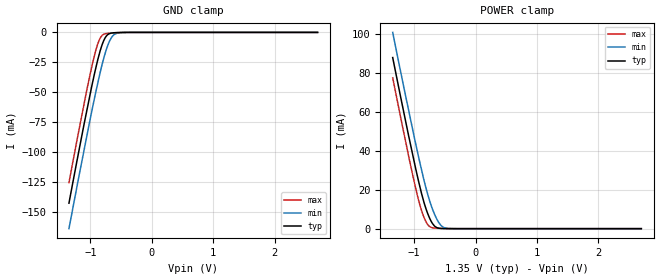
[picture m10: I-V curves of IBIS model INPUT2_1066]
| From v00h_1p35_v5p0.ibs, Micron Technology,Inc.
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| MODEL INPUT2_1066 (Add/Cmd/Ctrl Input Model, 800/1066Mbps)
[Model]   INPUT2_1066
Model_type   Input
Vinl = 515.000mV
Vinh = 835.000mV
|   typ   min   max
|C_comp   0.525pF   0.450pF   0.600pF
C_comp_power_clamp   0.2625pF   0.2250pF   0.3000pF
C_comp_gnd_clamp   0.2625pF   0.2250pF   0.3000pF
[Model Spec]
| Input threshold voltage corners
Vinl   0.5150V   0.4815V   0.5525V
Vinh   0.8350V   0.8015V   0.8725V
| Dynamic Overshoot Parameters from DDR3L Specification
D_overshoot_ampl_h   0.40   NA   NA
D_overshoot_ampl_l   0.40   NA   NA
D_overshoot_area_h   0.50n   NA   NA
D_overshoot_area_l   0.50n   NA   NA
[Receiver Thresholds]
Vth   =  0.675V
Vth_min  =  0.6615V
Vth_max  =  0.6885V
Vinh_ac  =  0.160V
Vinh_dc  =  0.090V
Vinl_ac  = -0.160V
Vinl_dc  = -0.090V
Tslew_ac =  5.000ns |Not specified, so set to high value
Threshold_sensitivity = 0.50
Reference_supply Power_clamp_ref
[Voltage Range]   1.3500V   1.2830V   1.4250V
[POWER Clamp Reference]   1.3500V   1.2830V   1.4250V
| Junction Temperature (Ambient temp is 35C typ, 95C min, 0C max)
[Temperature Range]   50.0   110.0   0.0
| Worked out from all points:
|   GND clamp passes 1 mA (typ) near -0.68 V on its own axis
|   POWER clamp passes 1 mA (typ) near -0.65 V on its own axis
[GND Clamp]
|   Voltage   I(typ)   I(min)   I(max)
-1.35V    -142.4mA   -163.7mA   -125.4mA
-1.065V   -66.72mA   -88.09mA   -49.6mA
-955mV    -39.37mA   -60.04mA   -23.47mA
-900mV    -26.97mA   -46.81mA   -12.69mA
-835mV    -14.25mA   -32.03mA   -4.244mA
-765mV    -4.919mA   -18.27mA   -1.216mA
-725mV    -2.141mA   -11.9mA    -848.5uA
-690mV    -1.101mA   -7.391mA   -660.9uA
-625mV    -347uA     -2.287mA   -423.7uA
-565mV    -159.6uA   -640.2uA   -252.2uA
-440mV    -35.41uA   -45.12uA   -53.14uA
2.7V      0A         0A         0A
[POWER Clamp]
|   Voltage   I(typ)   I(min)   I(max)
-1.35V    87.76mA    100.7mA    77.36mA
-1.205V   65.12mA    78.07mA    54.64mA
-1.01V    35.82mA    48.59mA    25.45mA
-925mV    23.81mA    36.28mA    14.18mA
-875mV    17.44mA    29.48mA    8.776mA
-800mV    9.486mA    19.93mA    3.094mA
-725mV    3.843mA    12.08mA    692.6uA
-665mV    1.21mA     7.141mA    286.2uA
-560mV    111.4uA    1.548mA    114.3uA
-485mV    40.82uA    266.4uA    56.89uA
-400mV    15.18uA    30.07uA    23.63uA
2.7V      0A         0A         0A
